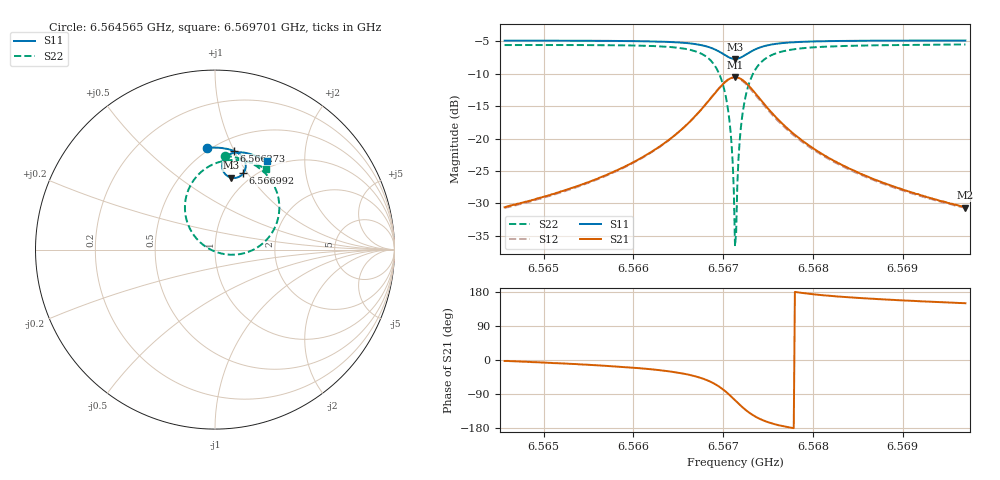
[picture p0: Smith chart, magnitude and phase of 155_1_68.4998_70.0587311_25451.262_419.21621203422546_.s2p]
#  HZ  S  RI  R  50.00
! Rohde & Schwarz Vector Network Analyzer
! Rohde-Schwarz,ZNB20-2Port,1311601062101988,3.16
! Created: UTC 3/20/2024, 5:10:41 PM
! freq[Hz]  re:S11  im:S11  re:S21  im:S21  re:S12  im:S12  re:S22  im:S22
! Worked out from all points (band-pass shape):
!   401 points, 6.564565 GHz to 6.569701 GHz, reference 50 ohm
!   highest |S21| = -10.54 dB at 6.567133 GHz (marker M1); lowest = -30.6 dB at 6.569701 GHz (marker M2)
!   |S21| within 3 dB of the highest: 6.566877 GHz to 6.56739 GHz (513.1 kHz wide, 0.00781 % of centre)
!   lowest |S11| = -7.7 dB at 6.567133 GHz (marker M3), VSWR 2.39, Z = 42.1 + j40.6 ohm
!   |S11| at or under -10 dB: nowhere
!   |S22| runs from -36.6 to -5.5 dB; largest |S21 - S12| = 0.014
!   S11 on the Smith chart (normalised r, x): 6.564565 GHz: 0.48, +0.80; 6.566273 GHz: 0.62, +1.00; 6.566992 GHz: 0.89, +0.95; 6.569701 GHz: 0.90, +1.31
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6.5645649e9  -0.0469 0.567  0.0295 -0.00131  0.029 -0.00164  0.0536 0.5233
6.5654251e9  0.0245 0.5673  0.0434 -0.00894  0.0426 -0.0096  0.1376 0.5075
6.5662726e9  0.1059 0.5495  0.0762 -0.0377  0.0751 -0.0385  0.2556 0.447
6.5662854e9  0.1074 0.549  0.0771 -0.0387  0.0758 -0.0395  0.258 0.4453
6.5667733e9  0.1655 0.4956  0.1132 -0.1301  0.1106 -0.133  0.3567 0.2669
6.5669017e9  0.1709 0.4583  0.1021 -0.1956  0.0969 -0.1994  0.3419 0.1423
6.5669916e9  0.1575 0.4251  0.0618 -0.2527  0.053 -0.2558  0.2681 0.0361
6.5670301e9  0.1444 0.412  0.031 -0.2738  0.0203 -0.2756  0.211 -0.00209
6.5670686e9  0.1266 0.4027  -0.00795 -0.288  -0.0203 -0.2874  0.1394 -0.0251
6.5670943e9  0.1128 0.3994  -0.037 -0.2914  -0.0501 -0.2886  0.0864 -0.0287
6.56712e9  0.0983 0.3994  -0.0673 -0.2891  -0.0803 -0.2839  0.0326 -0.0212
6.5671328e9  0.091 0.4005  -0.0822 -0.2856  -0.0948 -0.2793  0.00659 -0.0133
6.5671457e9  0.0841 0.4025  -0.0967 -0.2808  -0.1091 -0.2732  -0.0186 -0.00286
6.5671585e9  0.0772 0.4053  -0.1106 -0.2742  -0.1223 -0.266  -0.0424 0.0101
6.5671842e9  0.065 0.4129  -0.1358 -0.2581  -0.1458 -0.2479  -0.0846 0.0421
6.5672227e9  0.051 0.428  -0.1652 -0.2271  -0.1724 -0.2153  -0.1313 0.1008
6.5672741e9  0.0411 0.4511  -0.1876 -0.1811  -0.1907 -0.1692  -0.1627 0.1838
6.5673383e9  0.0409 0.4781  -0.1936 -0.1289  -0.1932 -0.1182  -0.1642 0.2759
6.5675694e9  0.0789 0.5292  -0.1483 -0.0287  -0.145 -0.024  -0.0626 0.4444
6.5679931e9  0.1421 0.5422  -0.0848 0.00918  -0.0824 0.0106  0.0785 0.4983
6.5688534e9  0.2245 0.5228  -0.0411 0.0156  -0.0402 0.016  0.2097 0.4819
6.5697008e9  0.2881 0.4927  -0.0254 0.0148  -0.0251 0.0149  0.2867 0.4478
